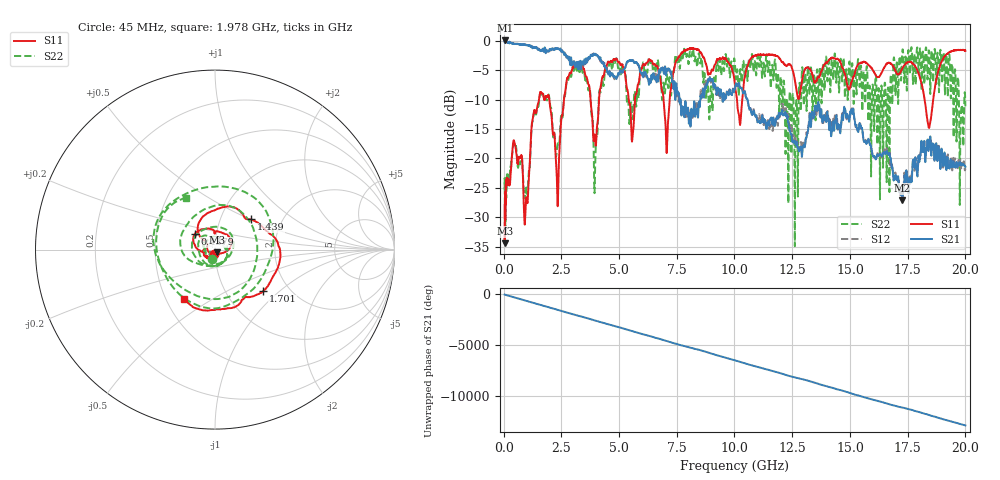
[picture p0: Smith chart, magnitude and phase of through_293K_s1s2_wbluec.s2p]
!Agilent Technologies,E8364A,US41440322,A.04.87.01
!Agilent E8364A: A.04.87.01
!Date: Thursday, July 11, 2024 14:16:32
!Correction: S11(Full 2 Port SOLT,1,2) S21(Full 2 Port SOLT,1,2) S12(Full 2 Port SOLT,1,2) S22(Full 2 Port SOLT,1,2)
!S2P File: Measurements: S11, S21, S12, S22:
# Hz S  dB  R 50
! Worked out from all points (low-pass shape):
!   6401 points, 45 MHz to 20 GHz, reference 50 ohm
!   highest |S21| = 0.05 dB at 51.24 MHz (marker M1); lowest = -27.1 dB at 17.27 GHz (marker M2)
!   |S21| within 3 dB of the highest: start of sweep to 2.801 GHz; 3.743 GHz to 4.135 GHz (392.6 MHz wide, 9.97 % of centre)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
!   lowest |S11| = -34.4 dB at 48.12 MHz (marker M3), VSWR 1.04, Z = 51.2 - j1.47 ohm
!   |S11| at or under -10 dB: start of sweep to 1.534 GHz; 1.982 GHz to 2.617 GHz (634.3 MHz wide, 27.6 % of centre); 18.24 GHz to 18.61 GHz (368.3 MHz wide, 2 % of centre)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
!   |S22| runs from -34.9 to -1.1 dB; largest |S21 - S12| = 0.12
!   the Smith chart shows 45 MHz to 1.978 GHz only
!   S11 on the Smith chart (normalised r, x): 45 MHz: 0.99, -0.05; 437.9 MHz: 0.79, +0.14; 1.439 GHz: 1.39, +0.50; 1.701 GHz: 1.48, -0.79; 1.978 GHz: 0.62, -0.38
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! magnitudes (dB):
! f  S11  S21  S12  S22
! 45 MHz  -31.7  0.0  -0.3  -25.3
! 48.12 MHz  -34.4  0.0  -0.1  -23.3
! 51.24 MHz  -28.7  0.0  -0.1  -24.2
! 437.9 MHz  -16.9  -0.5  -0.5  -17.5
! 967.9 MHz  -27.4  -0.8  -0.7  -25.5
! 1.439 GHz  -11.7  -1.2  -1.2  -11.8
! 1.701 GHz  -9.0  -1.4  -1.5  -8.8
! 1.978 GHz  -9.9  -1.5  -1.8  -9.6
! 2.34 GHz  -28.0  -1.4  -1.4  -17.7
! 3.372 GHz  -4.2  -4.5  -3.7  -4.5
! 3.977 GHz  -17.3  -2.3  -2.2  -19.9
! 4.482 GHz  -4.1  -5.1  -5.0  -4.4
! 5.573 GHz  -16.7  -3.3  -3.3  -12.6
! 6.699 GHz  -4.9  -6.9  -6.4  -3.7
! 7.064 GHz  -19.1  -5.0  -5.0  -5.7
! 10.02 GHz  -7.6  -8.0  -7.7  -4.0
! 12.67 GHz  -8.0  -17.4  -17.7  -10.5
! 13.35 GHz  -5.5  -12.1  -12.2  -7.5
! 16.68 GHz  -3.7  -19.3  -19.2  -9.6
! 17.27 GHz  -4.7  -27.1  -25.8  -1.7
! 18.43 GHz  -14.7  -17.3  -17.8  -1.9
! 20 GHz  -1.7  -21.4  -21.7  -11.1
